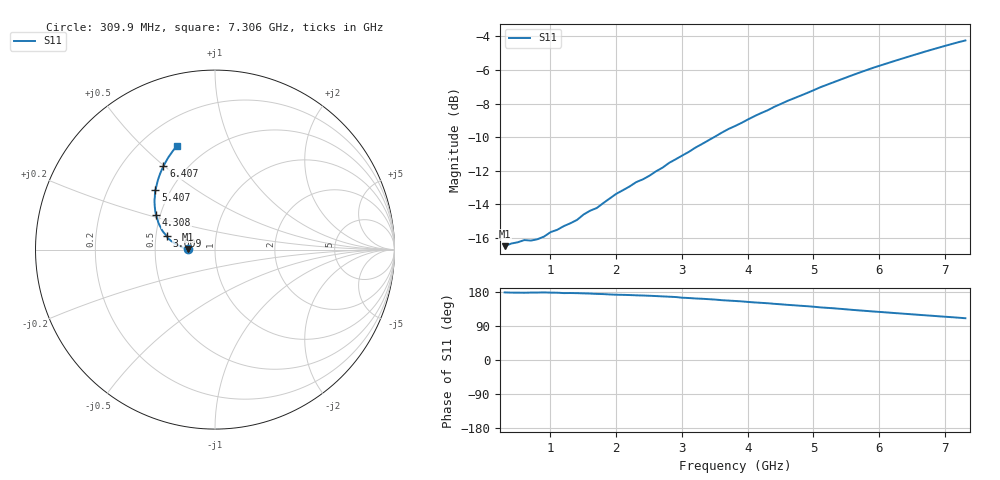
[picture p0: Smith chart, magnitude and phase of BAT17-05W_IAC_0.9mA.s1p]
! Infineon Technologies  Discrete & RF Semiconductors
! BAT17-05W
! IAC = 0.9 mA
! One-Port S-Parameters
# Hz  S  MA  R  50
!f  S11
!Hz  Mag  Ang
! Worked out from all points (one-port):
!   71 points, 309.9 MHz to 7.306 GHz, reference 50 ohm
!   lowest |S11| = -16.5 dB at 309.9 MHz (marker M1), VSWR 1.35, Z = 37 + j0.323 ohm
!   |S11| at or under -10 dB: start of sweep to 3.493 GHz
!   S11 on the Smith chart (normalised r, x): 309.9 MHz: 0.74, +0.01; 3.009 GHz: 0.57, +0.09; 4.308 GHz: 0.47, +0.21; 5.407 GHz: 0.41, +0.35; 6.407 GHz: 0.37, +0.50; 7.306 GHz: 0.35, +0.64
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3.0985e8  0.1495 178.4
6.097e8  0.1559 177.5
7.0965e8  0.1554 177.9
8.096e8  0.1568 178.0
9.0955e8  0.1597 178.4
1.0095e9  0.1647 177.8
1.2094e9  0.1716 176.5
1.4093e9  0.1791 176.4
1.50925e9  0.1858 175.8
1.70915e9  0.1943 174.4
2.009e9  0.2144 172.2
2.10895e9  0.2197 171.9
2.6087e9  0.2499 168.8
2.90855e9  0.2716 166.2
3.0085e9  0.2787 164.4
3.30835e9  0.3016 161.6
3.8081e9  0.341 155.8
4.30785e9  0.3804 149.7
4.70765e9  0.4129 144.4
5.0075e9  0.4367 140.5
5.10745e9  0.4454 138.8
5.4073e9  0.4689 135.1
5.6072e9  0.4849 132.0
6.007e9  0.5163 126.8
6.4068e9  0.5465 121.7
6.50675e9  0.5541 120.4
6.8066e9  0.577 116.6
7.30635e9  0.6137 110.2
